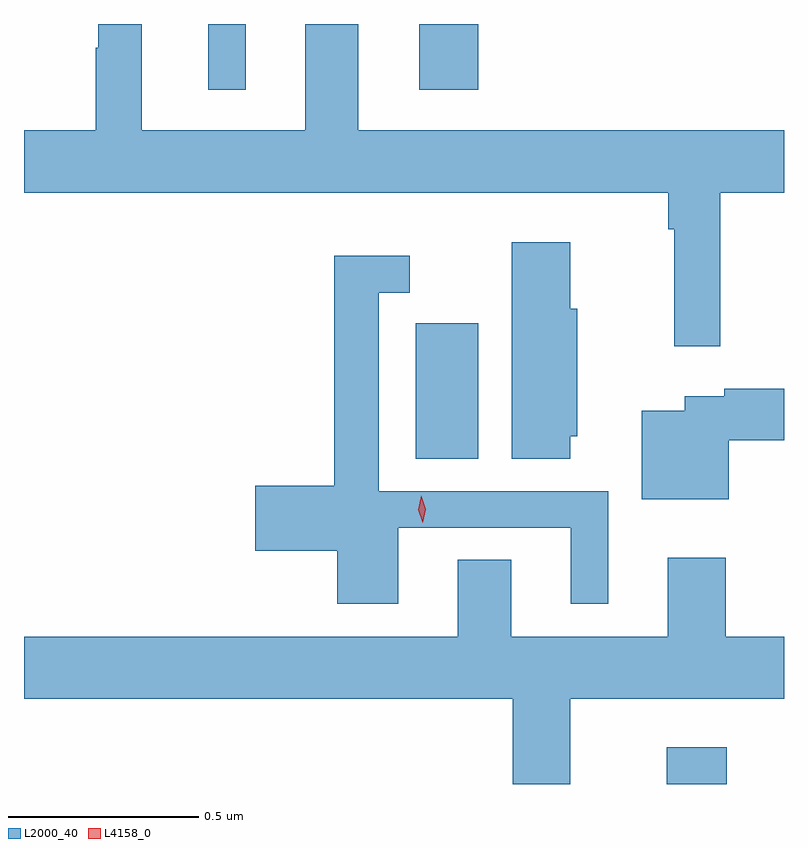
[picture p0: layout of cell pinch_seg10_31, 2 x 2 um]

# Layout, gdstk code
import gdstk
lib = gdstk.Library(unit=1e-6, precision=1e-09)
def R(c, l, rs):  # rectangles x0, y0, x1, y1
    for r in rs: c.add(gdstk.rectangle(r[:2], r[2:], *l))
def P(c, l, *ps):  # polygons
    for p in ps: c.add(gdstk.Polygon(p, *l))
L2000_40 = (2000, 40)
L4158_0 = (4158, 0)

pinch_seg10_31 = lib.new_cell('pinch_seg10_31')
R(pinch_seg10_31, L2000_40, [(930.116,1309.416,930.274,1309.513), (929.456,1310.272,929.62,1310.629), (928.91,1311.243,929.008,1311.416), (929.465,1311.243,929.621,1311.416)])
P(pinch_seg10_31, L2000_40, [(930.257,1310.972),(930.425,1310.972),(930.425,1311.136),(929.305,1311.136),(929.305,1311.416),(929.165,1311.416),(929.165,1311.136),(928.735,1311.136),(928.735,1311.416),(928.621,1311.416),(928.621,1311.353),(928.614,1311.353),(928.614,1311.136),(928.425,1311.136),(928.425,1310.972),(930.121,1310.972),(930.121,1310.876),(930.136,1310.876),(930.136,1310.568),(930.257,1310.568)],
  [(929.863,1310.331),(929.881,1310.331),(929.881,1310.667),(929.863,1310.667),(929.863,1310.842),(929.708,1310.842),(929.708,1310.272),(929.863,1310.272)],
  [(929.41,1310.091),(929.864,1310.091),(929.864,1309.89),(929.962,1309.89),(929.962,1310.187),(929.358,1310.187),(929.358,1310.709),(929.44,1310.709),(929.44,1310.806),(929.242,1310.806),(929.242,1310.201),(929.034,1310.201),(929.034,1310.03),(929.249,1310.03),(929.249,1309.89),(929.41,1309.89)],
  [(930.28,1310.32),(930.425,1310.32),(930.425,1310.456),(930.268,1310.456),(930.268,1310.437),(930.164,1310.437),(930.164,1310.398),(930.05,1310.398),(930.05,1310.165),(930.28,1310.165)],
  [(929.863,1309.64),(930.425,1309.64),(930.425,1309.804),(930.272,1309.804),(930.272,1310.011),(930.119,1310.011),(930.119,1309.804),(929.707,1309.804),(929.707,1310.006),(929.567,1310.006),(929.567,1309.804),(928.425,1309.804),(928.425,1309.64),(929.711,1309.64),(929.711,1309.416),(929.863,1309.416)])
P(pinch_seg10_31, L4158_0, [(929.474,1310.103),(929.474,1310.103),(929.462,1310.138),(929.471,1310.174),(929.471,1310.174),(929.471,1310.174),(929.482,1310.139),(929.474,1310.103)])

lib.write_gds('pinch_seg10_31.gds')
